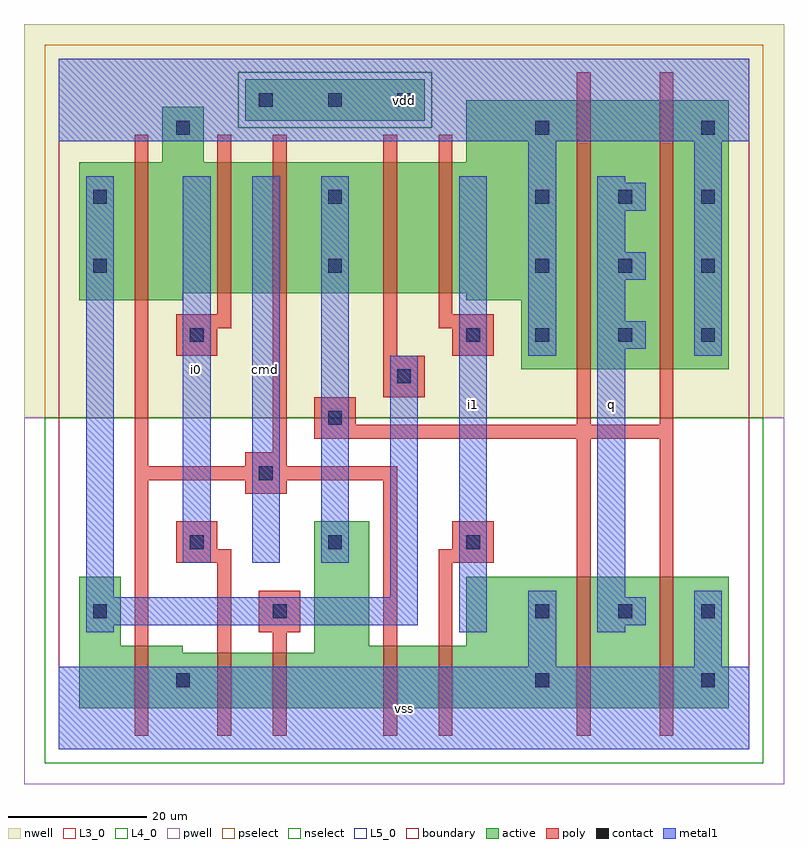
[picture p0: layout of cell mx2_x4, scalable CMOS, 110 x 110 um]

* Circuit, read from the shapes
.subckt mx2_x4 cmd i0 i1 q vdd vss
M1 vss cmd n1 VSUBS nfet w=9u l=2u
M2 n2 i0 vss VSUBS nfet w=8u l=2u
M3 n3 n1 n2 VSUBS nfet w=8u l=2u
M4 n4 cmd n3 VSUBS nfet w=9u l=2u
M5 vss i1 n4 VSUBS nfet w=9u l=2u
M6 q n3 vss VSUBS nfet w=19u l=2u m=2
M7 vdd cmd n1 vdd pfet w=20u l=2u
M8 n5 i0 vdd vdd pfet w=19u l=2u
M9 n3 cmd n5 vdd pfet w=19u l=2u
M10 n6 n1 n3 vdd pfet w=19u l=2u
M11 vdd i1 n6 vdd pfet w=19u l=2u
M12 q n3 vdd vdd pfet w=39u l=2u m=2
.ends

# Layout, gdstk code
import gdstk
lib = gdstk.Library(unit=1e-6, precision=1e-09)
def R(c, l, rs):  # rectangles x0, y0, x1, y1
    for r in rs: c.add(gdstk.rectangle(r[:2], r[2:], *l))
def A(c, l, x, y, w, h, nx, ny, dx, dy):  # array of equal rectangles
    R(c, l, [(x+i*dx, y+j*dy, x+i*dx+w, y+j*dy+h) for i in range(nx) for j in range(ny)])
L3_0 = (3, 0)
L4_0 = (4, 0)
L5_0 = (5, 0)
contact = (25, 0)
pwell = (41, 0)
nwell = (42, 0)
active = (43, 0)
pselect = (44, 0)
nselect = (45, 0)
poly = (46, 0)
metal1 = (49, 0)
boundary = (63, 0)

mx2_x4 = lib.new_cell('mx2_x4')
R(mx2_x4, L3_0, [(3,6,97,14), (3,14,18,15), (37,14,97,15), (3,15,9,25), (37,15,45,33), (59,15,97,25)])
R(mx2_x4, L4_0, [(67,55,97,65), (3,65,18,66), (59,65,97,66), (3,66,97,85), (15,85,21,93), (59,85,97,94)])
R(mx2_x4, L5_0, [(27,91,53,97)])
A(mx2_x4, contact, 69, 19, 2, 2, 3, 2, 12, 40)
A(mx2_x4, contact, 19, 29, 2, 2, 3, 1, 20, 0)
A(mx2_x4, contact, 69, 69, 2, 2, 3, 2, 12, 10)
A(mx2_x4, contact, 29, 93, 2, 2, 3, 1, 10, 0)
R(mx2_x4, contact, [(17,9,19,11), (69,9,71,11), (93,9,95,11), (5,19,7,21), (31,19,33,21), (29,39,31,41), (39,47,41,49), (49,53,51,55), (19,59,21,61), (59,59,61,61), (5,69,7,71), (39,69,41,71), (5,79,7,81), (39,79,41,81), (17,89,19,91), (69,89,71,91), (93,89,95,91)])
R(mx2_x4, pwell, [(-5,-5,105,48)])
R(mx2_x4, nwell, [(-5,48,105,105)])
R(mx2_x4, active, [(3,6,97,14), (3,14,18,15), (37,14,97,15), (3,15,9,25), (37,15,45,33), (59,15,97,25), (67,55,97,65), (3,65,18,66), (59,65,97,66), (3,66,97,85), (15,85,21,93), (59,85,97,94), (27,91,53,97)])
R(mx2_x4, pselect, [(-2,48,102,90), (-2,90,26,98), (54,90,102,98), (-2,98,102,102)])
R(mx2_x4, nselect, [(-2,-2,102,48), (26,90,54,98)])
R(mx2_x4, poly, [(11,2,13,39), (23,2,25,27), (31,2,33,17), (47,2,49,39), (55,2,57,27), (75,2,77,45), (87,2,89,45), (29,17,35,23), (17,27,25,29), (55,27,63,29), (17,29,23,33), (57,29,63,33), (27,37,33,39), (11,39,49,41), (11,41,13,89), (27,41,33,43), (31,43,33,89), (37,45,89,47), (37,47,43,51), (75,47,77,98), (87,47,89,98), (47,51,53,57), (17,57,23,61), (47,57,49,89), (57,57,63,61), (17,61,25,63), (55,61,63,63), (23,63,25,89), (55,63,57,89)])
A(mx2_x4, metal1, 18, 27, 4, 56, 3, 1, 10, 0)
A(mx2_x4, metal1, 78, 58, 7, 4, 1, 3, 0, 10)
R(mx2_x4, metal1, [(0,0,100,12), (68,12,72,23), (92,12,96,23), (4,17,8,18), (58,17,62,83), (78,17,82,18), (4,18,52,22), (78,18,85,22), (4,22,8,83), (48,22,52,57), (78,22,82,58), (68,57,72,88), (92,57,96,88), (78,62,82,68), (78,72,82,78), (78,82,82,83), (0,88,100,100)])
R(mx2_x4, boundary, [(0,0,100,100)])
mx2_x4.add(gdstk.Label('i0', (20,55), layer=49, texttype=0))
mx2_x4.add(gdstk.Label('cmd', (30,55), layer=49, texttype=0))
mx2_x4.add(gdstk.Label('vss', (50,6), layer=49, texttype=0))
mx2_x4.add(gdstk.Label('i1', (60,50), layer=49, texttype=0))
mx2_x4.add(gdstk.Label('vdd', (50,94), layer=49, texttype=0))
mx2_x4.add(gdstk.Label('q', (80,50), layer=49, texttype=0))

lib.write_gds('mx2_x4.gds')
